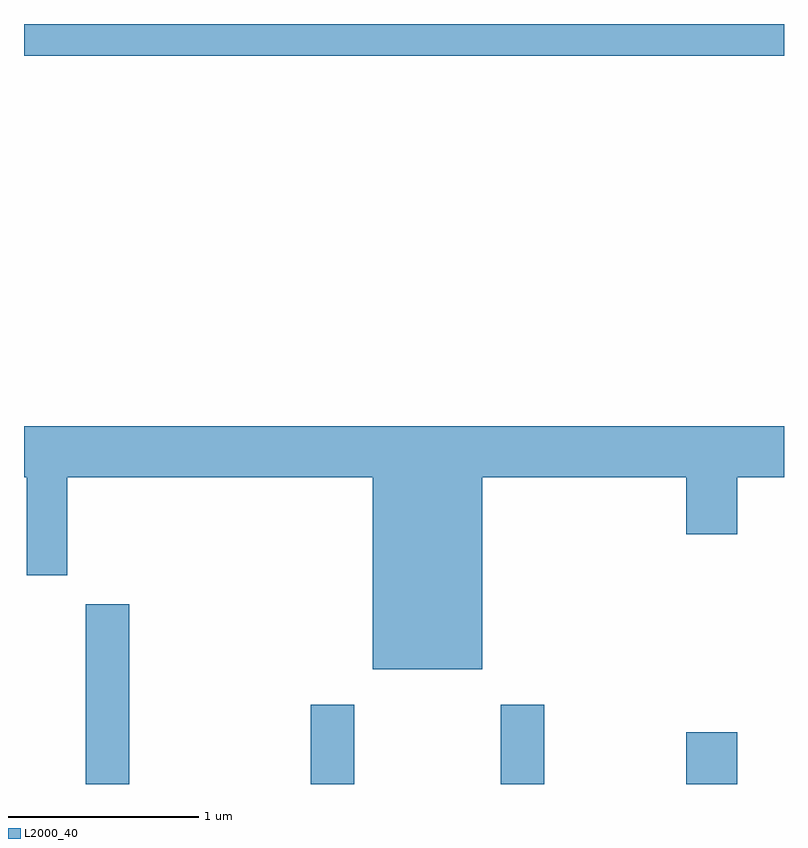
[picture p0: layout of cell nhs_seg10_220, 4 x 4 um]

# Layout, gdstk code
import gdstk
lib = gdstk.Library(unit=1e-6, precision=1e-09)
def R(c, l, rs):  # rectangles x0, y0, x1, y1
    for r in rs: c.add(gdstk.rectangle(r[:2], r[2:], *l))
def P(c, l, *ps):  # polygons
    for p in ps: c.add(gdstk.Polygon(p, *l))
L2000_40 = (2000, 40)

nhs_seg10_220 = lib.new_cell('nhs_seg10_220')
R(nhs_seg10_220, L2000_40, [(191.936,2114.522,192.164,2115.469), (193.121,2114.522,193.349,2114.939), (194.121,2114.522,194.349,2114.939), (195.096,2114.522,195.364,2114.794), (191.611,2118.356,195.611,2118.522)])
P(nhs_seg10_220, L2000_40, [(194.024,2116.136),(195.096,2116.136),(195.096,2115.836),(195.364,2115.836),(195.364,2116.136),(195.611,2116.136),(195.611,2116.404),(191.611,2116.404),(191.611,2116.136),(191.626,2116.136),(191.626,2115.621),(191.839,2115.621),(191.839,2116.136),(193.446,2116.136),(193.446,2115.126),(194.024,2115.126)])

lib.write_gds('nhs_seg10_220.gds')
